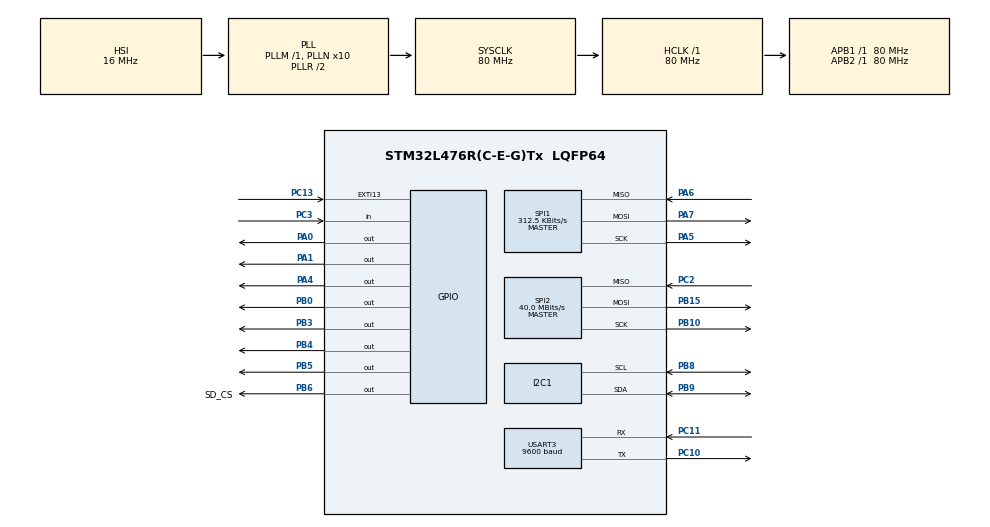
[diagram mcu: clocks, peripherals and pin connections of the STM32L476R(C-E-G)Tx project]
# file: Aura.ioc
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I2C1.Timing=0x10D19CE4
Mcu.Family=STM32L4
Mcu.Name=STM32L476R(C-E-G)Tx
Mcu.Package=LQFP64
NUCLEO-L476RG.BUTTON=1
NUCLEO-L476RG.LD2=true
NVIC.EXTI15_10_IRQn=true\:0\:0\:false\:false\:true\:true\:true\:true
NVIC.PriorityGroup=NVIC_PRIORITYGROUP_4
PA0.Signal=GPIO_Output
PA1.Signal=GPIO_Output
PA13\ (JTMS-SWDIO).GPIO_Label=TMS
PA13\ (JTMS-SWDIO).Signal=SYS_JTMS-SWDIO
PA14\ (JTCK-SWCLK).GPIO_Label=TCK
PA14\ (JTCK-SWCLK).Signal=SYS_JTCK-SWCLK
PA2.GPIO_Label=USART_TX
PA2.GPIO_Mode=GPIO_MODE_AF_PP
PA2.GPIO_PuPd=GPIO_NOPULL
PA2.GPIO_Speed=GPIO_SPEED_FREQ_VERY_HIGH
PA2.Signal=USART2_TX
PA3.GPIO_Label=USART_RX
PA3.GPIO_Mode=GPIO_MODE_AF_PP
PA3.GPIO_PuPd=GPIO_NOPULL
PA3.GPIO_Speed=GPIO_SPEED_FREQ_VERY_HIGH
PA3.Signal=USART2_RX
PA4.Signal=GPIO_Output
PA5.Mode=Full_Duplex_Master
PA5.Signal=SPI1_SCK
PA6.Mode=Full_Duplex_Master
PA6.Signal=SPI1_MISO
PA7.Mode=Full_Duplex_Master
PA7.Signal=SPI1_MOSI
PB0.GPIO_Speed=GPIO_SPEED_FREQ_HIGH
PB0.PinState=GPIO_PIN_RESET
PB0.Signal=GPIO_Output
PB1.Signal=QUADSPI_BK1_IO0
PB10.Mode=Full_Duplex_Master
PB10.Signal=SPI2_SCK
PB15.Mode=Full_Duplex_Master
PB15.Signal=SPI2_MOSI
PB3\ (JTDO-TRACESWO).Signal=GPIO_Output
PB4\ (NJTRST).Signal=GPIO_Output
PB5.Signal=GPIO_Output
PB6.GPIO_Label=SD_CS
PB6.Signal=GPIO_Output
PB8.Mode=I2C
PB8.Signal=I2C1_SCL
PB9.Mode=I2C
PB9.Signal=I2C1_SDA
PC10.Mode=Asynchronous
PC10.Signal=USART3_TX
PC11.Mode=Asynchronous
PC11.Signal=USART3_RX
PC13.Signal=GPXTI13
PC14-OSC32_IN\ (PC14).Mode=LSE-External-Oscillator
PC14-OSC32_IN\ (PC14).Signal=RCC_OSC32_IN
PC15-OSC32_OUT\ (PC15).Mode=LSE-External-Oscillator
PC15-OSC32_OUT\ (PC15).Signal=RCC_OSC32_OUT
PC2.Mode=Full_Duplex_Master
PC2.Signal=SPI2_MISO
PC3.GPIO_PuPd=GPIO_PULLUP
PC3.Signal=GPIO_Input
PH0-OSC_IN\ (PH0).Signal=RCC_OSC_IN
PH1-OSC_OUT\ (PH1).Signal=RCC_OSC_OUT
ProjectManager.HeapSize=0x200
ProjectManager.StackSize=0x400
ProjectManager.TargetToolchain=CMake
RCC.ADCFreq_Value=64000000
RCC.AHBFreq_Value=80000000
RCC.APB1Freq_Value=80000000
RCC.APB1TimFreq_Value=80000000
RCC.APB2Freq_Value=80000000
RCC.APB2TimFreq_Value=80000000
RCC.CortexFreq_Value=80000000
RCC.HCLKFreq_Value=80000000
RCC.HSE_VALUE=8000000
RCC.HSI_VALUE=16000000
RCC.MSI_VALUE=4000000
RCC.PLLN=10
RCC.PLLSourceVirtual=RCC_PLLSOURCE_HSI
RCC.PREFETCH_ENABLE=1
RCC.SYSCLKFreq_VALUE=80000000
RCC.SYSCLKSource=RCC_SYSCLKSOURCE_PLLCLK
RCC.USBFreq_Value=64000000
RCC.VCOOutputFreq_Value=160000000
SPI1.BaudRatePrescaler=SPI_BAUDRATEPRESCALER_256
SPI1.CalculateBaudRate=312.5 KBits/s
SPI1.DataSize=SPI_DATASIZE_8BIT
SPI1.Direction=SPI_DIRECTION_2LINES
SPI1.Mode=SPI_MODE_MASTER
SPI1.VirtualType=VM_MASTER
SPI2.CalculateBaudRate=40.0 MBits/s
SPI2.Direction=SPI_DIRECTION_2LINES
SPI2.Mode=SPI_MODE_MASTER
SPI2.VirtualType=VM_MASTER
USART3.BaudRate=9600
USART3.VirtualMode-Asynchronous=VM_ASYNC
VP_FATFS_VS_Generic.Mode=User_defined
VP_NUCLEO-L476RG_VS_BSP_COMMON.Mode=COMMON
VP_RTC_VS_RTC_Activate.Mode=RTC_Enabled
VP_RTC_VS_RTC_Calendar.Mode=RTC_Calendar
board=NUCLEO-L476RG

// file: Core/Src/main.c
/* USER CODE BEGIN Header */
/**
  **************************
  * @file           : main.c
  * @brief          : Main program body
  **************************
  * @attention
  *
  * Copyright (c) 2026 STMicroelectronics.
  * All rights reserved.
  *
  * This software is licensed under terms that can be found in the LICENSE file
  * in the root directory of this software component.
  * If no LICENSE file comes with this software, it is provided AS-IS.
  *
  **************************
  */
/* USER CODE END Header */
#include "main.h"
#include "fatfs.h"

/* USER CODE BEGIN Includes */
#include <stdio.h>
#include <string.h>
#include "rgb_led.h"
#include "dht11.h"
#include "bh1750.h"
#include "lcd_i2c.h"
#include "station.h"
/* USER CODE END Includes */

I2C_HandleTypeDef hi2c1;

RTC_HandleTypeDef hrtc;

SPI_HandleTypeDef hspi1;
SPI_HandleTypeDef hspi2;

UART_HandleTypeDef huart3;

/* USER CODE BEGIN PV */
/* USART2 = port série virtuel du ST-LINK (PA2/PA3) pour le moniteur série à 115200 bauds.
 * CubeMX n'a pas généré son initialisation : elle est faite à la main dans USART2_Init_Manuel. */
UART_HandleTypeDef huart2;
static uint8_t mode_test = 0;   /* 1 si le bouton bleu B1 est maintenu au démarrage */
/* USER CODE END PV */

void SystemClock_Config(void);
static void MX_GPIO_Init(void);
static void MX_RTC_Init(void);
static void MX_I2C1_Init(void);
static void MX_SPI1_Init(void);
static void MX_SPI2_Init(void);
static void MX_USART3_UART_Init(void);
/* USER CODE BEGIN PFP */
static void USART2_Init_Manuel(void);
static void Test_Materiel(void);
static void Test_Boucle(void);
/* USER CODE END PFP */

/* USER CODE BEGIN 0 */

/* ========================================================================
 *  TEST MATÉRIEL DE LA STATION
 *  Brochage (CubeMX / CheatSheet) :
 *    LED RGB   : R = PA0 (A0), V = PA1 (A1), B = PA4 (A2)
 *    DHT11     : data = PB0 (A3)
 *    BH1750    : SCL = PB8 (D15), SDA = PB9 (D14)      -> I2C1
 *    Carte SD  : SCK = PA5 (D13), MISO = PA6 (D12), MOSI = PA7 (D11), CS = PB6 (D10) -> SPI1
 *    GPS       : PC10 = TX STM32 -> RX GPS, PC11 = RX STM32 <- TX GPS -> USART3 9600
 *    Boutons   : B1 bleu = PC13 (sur la carte), bouton externe = PC3 vers GND
 *    Console   : USB ST-LINK, USART2, 115200 bauds
 *  La LED verte LD2 n'est pas utilisée : elle partage PA5 avec le SCK de la carte SD.
 * ======================================================================== */

typedef enum { TEST_OK, TEST_ECHEC, TEST_VISUEL } Resultat;

static char log_buf[160];
#define LOG(...) do { int n_ = snprintf(log_buf, sizeof log_buf, __VA_ARGS__); \
    if (n_ > 0) HAL_UART_Transmit(&huart2, (uint8_t *)log_buf, (uint16_t)strlen(log_buf), 200); } while (0)

static BH1750_t bh;
static uint8_t  bh_ok = 0;

static const char *Txt(Resultat r)
{
  return (r == TEST_OK) ? "OK" : (r == TEST_ECHEC) ? "ECHEC" : "A VERIFIER A L OEIL";
}

static void USART2_Init_Manuel(void)
{
  /* PA2/PA3 sont déjà configurées en AF7 par MX_GPIO_Init ; il reste l'horloge et le périphérique. */
  __HAL_RCC_USART2_CLK_ENABLE();
  huart2.Instance = USART2;
  huart2.Init.BaudRate = 115200;
  huart2.Init.WordLength = UART_WORDLENGTH_8B;
  huart2.Init.StopBits = UART_STOPBITS_1;
  huart2.Init.Parity = UART_PARITY_NONE;
  huart2.Init.Mode = UART_MODE_TX_RX;
  huart2.Init.HwFlowCtl = UART_HWCONTROL_NONE;
  huart2.Init.OverSampling = UART_OVERSAMPLING_16;
  huart2.Init.OneBitSampling = UART_ONE_BIT_SAMPLE_DISABLE;
  huart2.AdvancedInit.AdvFeatureInit = UART_ADVFEATURE_NO_INIT;
  if (HAL_UART_Init(&huart2) != HAL_OK)
  {
    Error_Handler();
  }
}

/* ---- 1. LED RGB : rouge, vert, bleu, blanc ---- */
static Resultat Test_LED(void)
{
  LOG("\r\n[1] LED RGB : rouge, vert, bleu, blanc (1 s chacun)\r\n");
  RGB_LED_Init();
  RGB_LED_Set(1, 0, 0); LOG("    rouge\r\n"); HAL_Delay(1000);
  RGB_LED_Set(0, 1, 0); LOG("    vert\r\n");  HAL_Delay(1000);
  RGB_LED_Set(0, 0, 1); LOG("    bleu\r\n");  HAL_Delay(1000);
  RGB_LED_Set(1, 1, 1); LOG("    blanc\r\n"); HAL_Delay(1000);
  RGB_LED_Set(0, 0, 0);
  LOG("    Si les couleurs sont inversees ou eteintes : LED a anode commune,\r\n"
      "    mettre RGB_LED_COMMON_CATHODE a 0 dans rgb_led.h\r\n");
  return TEST_VISUEL;
}

/* ---- 2 et 3. Boutons : actifs à l'état bas ---- */
static Resultat Test_Bouton(const char *nom, GPIO_TypeDef *port, uint16_t pin)
{
  LOG("\r\n[%s] Appuie sur le bouton dans les 10 secondes...\r\n", nom);
  if (HAL_GPIO_ReadPin(port, pin) == GPIO_PIN_RESET)
  {
    LOG("    ATTENTION : la broche est deja a 0 avant tout appui\r\n"
        "    (bouton cable sur deux pattes toujours reliees : le brancher en diagonale)\r\n");
    return TEST_ECHEC;
  }
  uint32_t t0 = HAL_GetTick();
  while (HAL_GetTick() - t0 < 10000U)
  {
    if (HAL_GPIO_ReadPin(port, pin) == GPIO_PIN_RESET)
    {
      RGB_LED_Set(0, 1, 0);
      LOG("    appui detecte\r\n");
      uint32_t t1 = HAL_GetTick();
      while (HAL_GPIO_ReadPin(port, pin) == GPIO_PIN_RESET)        /* attendre le relâchement, 5 s maximum */
      {
        if (HAL_GetTick() - t1 > 5000U)
        {
          RGB_LED_Set(0, 0, 0);
          LOG("    le bouton ne se relache pas : cablage a verifier\r\n");
          return TEST_ECHEC;
        }
      }
      RGB_LED_Set(0, 0, 0);
      HAL_Delay(50);                                              /* anti-rebond */
      return TEST_OK;
    }
  }
  LOG("    aucun appui en 10 s\r\n");
  return TEST_ECHEC;
}

/* ---- 4. DHT11 sur PB0 ---- */
static Resultat Test_DHT11(void)
{
  LOG("\r\n[4] DHT11 sur PB0 (A3)\r\n");
  DHT11_Init();
  HAL_Delay(1500);                         /* le capteur a besoin d'environ 1 s après la mise sous tension */
  for (int essai = 1; essai <= 3; essai++)
  {
    DHT11_Data d;
    HAL_StatusTypeDef st = DHT11_Read(&d);
    if (st == HAL_OK)
    {
      LOG("    temperature = %d C   humidite = %d %%\r\n", (int)d.temperature, (int)d.humidity);
      if (d.humidity >= 5 && d.humidity <= 95 && d.temperature <= 50) return TEST_OK;
      LOG("    valeurs incoherentes\r\n");
      return TEST_ECHEC;
    }
    LOG("    essai %d : %s\r\n", essai, (st == HAL_TIMEOUT) ? "pas de reponse (cablage out, VCC, GND)" : "erreur de checksum");
    HAL_Delay(2000);                       /* au moins 1 à 2 s entre deux lectures */
  }
  return TEST_ECHEC;
}

/* ---- 5. BH1750 sur I2C1 ---- */
static Resultat Test_BH1750(void)
{
  uint8_t addr = 0;
  LOG("\r\n[5] I2C1 (SCL PB8 D15, SDA PB9 D14) : scan du bus\r\n");
  /* Au repos, les deux lignes I2C doivent être à 1 grâce aux résistances de rappel des modules. */
  int scl = HAL_GPIO_ReadPin(GPIOB, GPIO_PIN_8) == GPIO_PIN_SET;
  int sda = HAL_GPIO_ReadPin(GPIOB, GPIO_PIN_9) == GPIO_PIN_SET;
  LOG("    lignes au repos : SCL=%d SDA=%d (attendu 1 et 1)\r\n", scl, sda);
  if (!scl || !sda)
    LOG("    une ligne I2C est bloquee a 0 : un module est mal cable, en court-circuit vers GND, ou non alimente\r\n");
  for (uint8_t a = 1; a < 128; a++)
  {
    if (HAL_I2C_IsDeviceReady(&hi2c1, (uint16_t)(a << 1), 2, 10) == HAL_OK)
    {
      LOG("    peripherique trouve a l adresse 0x%02X\r\n", a);
      if (a == 0x23 || a == 0x5C) addr = (uint8_t)(a << 1);
    }
  }
  if (addr == 0)
  {
    LOG("    BH1750 introuvable (0x23 ou 0x5C)\r\n");
    return TEST_ECHEC;
  }
  if (BH1750_Init(&bh, &hi2c1, addr, BH1750_CONT_H) != HAL_OK)
  {
    LOG("    BH1750 : echec d initialisation\r\n");
    return TEST_ECHEC;
  }
  float lux;
  if (BH1750_ReadLux(&bh, &lux) != HAL_OK)
  {
    LOG("    BH1750 : erreur de lecture\r\n");
    return TEST_ECHEC;
  }
  bh_ok = 1;
  LOG("    luminosite = %u lux (cache le capteur avec la main : la valeur doit baisser)\r\n", (unsigned)lux);
  return TEST_OK;
}

/* ---- 6. RTC interne : l'heure doit avancer ---- */
static Resultat Test_RTC(void)
{
  RTC_TimeTypeDef t1, t2;
  RTC_DateTypeDef d;
  LOG("\r\n[6] RTC interne\r\n");
  HAL_RTC_GetTime(&hrtc, &t1, RTC_FORMAT_BIN); HAL_RTC_GetDate(&hrtc, &d, RTC_FORMAT_BIN);
  HAL_Delay(2100);
  HAL_RTC_GetTime(&hrtc, &t2, RTC_FORMAT_BIN); HAL_RTC_GetDate(&hrtc, &d, RTC_FORMAT_BIN);
  LOG("    %02u:%02u:%02u puis %02u:%02u:%02u\r\n", t1.Hours, t1.Minutes, t1.Seconds, t2.Hours, t2.Minutes, t2.Seconds);
  uint32_t s1 = t1.Hours * 3600U + t1.Minutes * 60U + t1.Seconds;
  uint32_t s2 = t2.Hours * 3600U + t2.Minutes * 60U + t2.Seconds;
  return (s2 > s1) ? TEST_OK : TEST_ECHEC;
}

/* ---- 7. Carte SD en SPI1 : la carte doit répondre 0x01 à la commande CMD0 ---- */
static uint8_t SD_Octet(uint8_t out)
{
  uint8_t in = 0xFF;
  HAL_SPI_TransmitReceive(&hspi1, &out, &in, 1, 50);
  return in;
}

static Resultat Test_SD(void)
{
  const uint8_t cmd0[6] = { 0x40, 0x00, 0x00, 0x00, 0x00, 0x95 };
  uint8_t r1 = 0xFF;
  LOG("\r\n[7] Carte SD en SPI1 (SCK PA5 D13, MISO PA6 D12, MOSI PA7 D11, CS PB6 D10)\r\n");

  /* BSP_LED_Init a reconfiguré PA5 pour la LED LD2 : on remet les broches du SPI1. */
  HAL_SPI_MspInit(&hspi1);

  /* Diagnostic 1 : CS haut, la carte ne doit pas parler, MISO doit rester à 1 (0xFF). */
  HAL_GPIO_WritePin(SD_CS_GPIO_Port, SD_CS_Pin, GPIO_PIN_SET);
  uint8_t repos = 0xFF;
  for (int i = 0; i < 10; i++) repos &= SD_Octet(0xFF);  /* 80 impulsions d'horloge, CS haut */
  LOG("    MISO au repos (CS haut) = 0x%02X (attendu 0xFF)\r\n", repos);
  if (repos == 0x00)
  {
    LOG("    MISO est bloque a 0 : verifier le fil MISO vers D12, qu il ne soit pas inverse avec MOSI,\r\n"
        "    et que le VCC du module soit sur 5V\r\n");
  }

  /* Diagnostic 2 : jusqu'à 5 essais de CMD0, certaines cartes ne répondent pas au premier. */
  for (int essai = 1; essai <= 5 && r1 != 0x01; essai++)
  {
    r1 = 0xFF;
    HAL_GPIO_WritePin(SD_CS_GPIO_Port, SD_CS_Pin, GPIO_PIN_RESET);
    for (int i = 0; i < 6; i++) SD_Octet(cmd0[i]);
    for (int i = 0; i < 10 && r1 == 0xFF; i++) r1 = SD_Octet(0xFF);
    HAL_GPIO_WritePin(SD_CS_GPIO_Port, SD_CS_Pin, GPIO_PIN_SET);
    SD_Octet(0xFF);
    LOG("    essai %d : reponse a CMD0 = 0x%02X (attendu 0x01)\r\n", essai, r1);
    HAL_Delay(50);
  }

  if (r1 == 0x01) return TEST_OK;
  if (r1 == 0xFF)
    LOG("    la carte ne repond pas : carte absente ou mal inseree, CS vers D10, SCK vers D13, MOSI vers D11, VCC 5V\r\n");
  else
    LOG("    reponse anormale : verifier MISO vers D12 et MOSI vers D11 (souvent inverses), ou changer de carte\r\n");
  return TEST_ECHEC;
}

/* ---- 8. GPS sur USART3 9600 : on attend des trames NMEA commençant par $ ---- */
static Resultat Test_GPS(void)
{
  char ligne[100];
  uint8_t c;
  int n = 0, trames = 0;
  LOG("\r\n[8] GPS sur USART3 (PC10 vers RX du GPS, PC11 vers TX du GPS), 9600 bauds, 5 s d ecoute\r\n");
  __HAL_UART_CLEAR_OREFLAG(&huart3);
  uint32_t t0 = HAL_GetTick();
  while (HAL_GetTick() - t0 < 5000U)
  {
    if (HAL_UART_Receive(&huart3, &c, 1, 20) != HAL_OK)
    {
      __HAL_UART_CLEAR_OREFLAG(&huart3);
      continue;
    }
    if (c == '$') n = 0;
    if (n < (int)sizeof ligne - 1) ligne[n++] = (char)c;
    if (c == '\n' && n > 6 && ligne[0] == '$')
    {
      ligne[n] = '\0';
      trames++;
      if (strncmp(ligne + 3, "RMC", 3) == 0)
      {
        const char *p = strchr(ligne, ',');
        if (p) p = strchr(p + 1, ',');
        char statut = (p && p[1]) ? p[1] : '?';
        LOG("    %s", ligne);
        LOG("    statut %c : %s\r\n", statut, (statut == 'A') ? "position valide" : "pas encore de position, mettre l antenne face au ciel");
        return TEST_OK;
      }
      n = 0;
    }
  }
  if (trames > 0)
  {
    LOG("    %d trames recues mais pas de RMC : le GPS communique\r\n", trames);
    return TEST_OK;
  }
  LOG("    aucune trame : verifier TX GPS vers PC11, RX GPS vers PC10, VCC, GND\r\n");
  return TEST_ECHEC;
}

/* ---- 9. Écran LCD1602 I2C sur le même bus I2C1 que le BH1750 ---- */
static LCD_I2C_t lcd;
static uint8_t   lcd_ok = 0;

static Resultat Test_LCD(void)
{
  LOG("\r\n[9] Ecran LCD1602 I2C (SDA PB9 D14, SCL PB8 D15) : recherche automatique de l adresse\r\n");
  /* Aucun réglage d'adresse à faire : on essaie toutes les adresses possibles du module PCF8574
   * (0x20 à 0x27 pour le PCF8574T, 0x38 à 0x3F pour le PCF8574AT), en sautant celle du BH1750 (0x23). */
  uint8_t addr = 0;
  const uint8_t debut[2] = { 0x27, 0x3F };          /* on commence par les adresses d'usine les plus courantes */
  for (int plage = 0; plage < 2 && addr == 0; plage++)
  {
    for (int i = 0; i < 8 && addr == 0; i++)
    {
      uint8_t a = (uint8_t)(debut[plage] - i);
      if (a == 0x23) continue;                       /* adresse du BH1750 */
      if (HAL_I2C_IsDeviceReady(&hi2c1, (uint16_t)(a << 1), 2, 10) == HAL_OK) addr = (uint8_t)(a << 1);
    }
  }
  if (addr == 0)
  {
    LOG("    LCD introuvable : verifier SDA vers D14, SCL vers D15, VCC 5V, GND\r\n");
    return TEST_ECHEC;
  }
  if (LCD_Init(&lcd, &hi2c1, addr) != HAL_OK)
  {
    LOG("    LCD : echec d initialisation\r\n");
    return TEST_ECHEC;
  }
  lcd_ok = 1;
  LCD_SetCursor(&lcd, 0, 0); LCD_Print(&lcd, "STATION AURA");
  LCD_SetCursor(&lcd, 0, 1); LCD_Print(&lcd, "Test LCD OK");
  LOG("    LCD trouve a l adresse 0x%02X : il doit afficher STATION AURA\r\n"
      "    Ecran allume mais vide ou rempli de carres : tourner la vis bleue du contraste au dos\r\n", addr >> 1);
  return TEST_VISUEL;
}

static void Test_Materiel(void)
{
  Resultat r[9];
  const char *noms[9] = { "LED RGB", "Bouton B1 bleu PC13", "Bouton externe PC3", "DHT11",
                          "BH1750", "RTC interne", "Carte SD", "GPS", "Ecran LCD1602" };

  LOG("\r\n\r\n========== TEST MATERIEL STATION AURA ==========\r\n");
  r[0] = Test_LED();
  r[1] = Test_Bouton("2 bouton bleu B1 sur la carte, PC13", GPIOC, GPIO_PIN_13);
  r[2] = Test_Bouton("3 bouton externe PC3", GPIOC, GPIO_PIN_3);
  r[3] = Test_DHT11();
  r[4] = Test_BH1750();
  r[5] = Test_RTC();
  r[6] = Test_SD();
  r[7] = Test_GPS();
  r[8] = Test_LCD();

  int echecs = 0;
  LOG("\r\n========== BILAN ==========\r\n");
  for (int i = 0; i < 9; i++)
  {
    LOG("  %-22s : %s\r\n", noms[i], Txt(r[i]));
    if (r[i] == TEST_ECHEC) echecs++;
  }
  LOG("  %d echec(s)\r\n===========================\r\n\r\n", echecs);

  /* LED : vert fixe si tout va bien, rouge fixe sinon */
  if (echecs == 0) RGB_LED_Set(0, 1, 0); else RGB_LED_Set(1, 0, 0);
}

/* Mesures en continu toutes les 2 secondes après le test */
static void Test_Boucle(void)
{
  static uint32_t dernier = 0;
  if (HAL_GetTick() - dernier < 2000U) return;
  dernier = HAL_GetTick();

  RTC_TimeTypeDef t;
  RTC_DateTypeDef d;
  HAL_RTC_GetTime(&hrtc, &t, RTC_FORMAT_BIN); HAL_RTC_GetDate(&hrtc, &d, RTC_FORMAT_BIN);

  DHT11_Data m;
  char dht[40] = "DHT11 NA";
  if (DHT11_Read(&m) == HAL_OK) snprintf(dht, sizeof dht, "T=%dC H=%d%%", (int)m.temperature, (int)m.humidity);

  char lux[24] = "lux NA";
  float l;
  if (bh_ok && BH1750_ReadLux(&bh, &l) == HAL_OK) snprintf(lux, sizeof lux, "%u lux", (unsigned)l);

  LOG("%02u:%02u:%02u  %s  %s  B1=%s  PC3=%s\r\n", t.Hours, t.Minutes, t.Seconds, dht, lux,
      HAL_GPIO_ReadPin(GPIOC, GPIO_PIN_13) == GPIO_PIN_RESET ? "appuye" : "relache",
      HAL_GPIO_ReadPin(GPIOC, GPIO_PIN_3)  == GPIO_PIN_RESET ? "appuye" : "relache");

  /* Écran : ligne 1 = heure + lux, ligne 2 = température + humidité (16 caractères par ligne) */
  if (lcd_ok)
  {
    char l1[17], l2[17];
    snprintf(l1, sizeof l1, "%02u:%02u:%02u %-7.7s", t.Hours % 24U, t.Minutes % 60U, t.Seconds % 60U, lux);
    snprintf(l2, sizeof l2, "%-16.16s", dht);
    LCD_SetCursor(&lcd, 0, 0); LCD_Print(&lcd, l1);
    LCD_SetCursor(&lcd, 0, 1); LCD_Print(&lcd, l2);
  }
}

/* USER CODE END 0 */

int main(void)
{

  /* MCU Configuration--------------------------------------------------------*/

  /* Reset of all peripherals, Initializes the Flash interface and the Systick. */
  HAL_Init();

  /* Configure the system clock */
  SystemClock_Config();

  /* Initialize all configured peripherals */
  MX_GPIO_Init();
  MX_RTC_Init();
  MX_I2C1_Init();
  MX_SPI1_Init();
  MX_SPI2_Init();
  MX_USART3_UART_Init();
  MX_FATFS_Init();
  /* USER CODE BEGIN 2 */
  USART2_Init_Manuel();
  /* USER CODE END 2 */

  /* Initialize leds */
  BSP_LED_Init(LED_GREEN);

  /* Initialize USER push-button, will be used to trigger an interrupt each time it's pressed.*/
  BSP_PB_Init(BUTTON_USER, BUTTON_MODE_EXTI);

  /* Infinite loop */
  /* USER CODE BEGIN WHILE */
  /* Bouton bleu B1 maintenu au démarrage : test du matériel. Sinon : programme de la station. */
  if (HAL_GPIO_ReadPin(GPIOC, GPIO_PIN_13) == GPIO_PIN_RESET)
  {
    mode_test = 1;
    Test_Materiel();
  }
  else
  {
    Station_Init();
  }
  while (1)
  {
    /* USER CODE END WHILE */

    /* USER CODE BEGIN 3 */
    if (mode_test) Test_Boucle(); else Station_Loop();
  }
  /* USER CODE END 3 */
}

void SystemClock_Config(void)
{
  RCC_OscInitTypeDef RCC_OscInitStruct = {0};
  RCC_ClkInitTypeDef RCC_ClkInitStruct = {0};

  /** Configure the main internal regulator output voltage
  */
  if (HAL_PWREx_ControlVoltageScaling(PWR_REGULATOR_VOLTAGE_SCALE1) != HAL_OK)
  {
    Error_Handler();
  }

  /** Initializes the RCC Oscillators according to the specified parameters
  * in the RCC_OscInitTypeDef structure.
  */
  RCC_OscInitStruct.OscillatorType = RCC_OSCILLATORTYPE_HSI|RCC_OSCILLATORTYPE_LSI;
  RCC_OscInitStruct.HSIState = RCC_HSI_ON;
  RCC_OscInitStruct.HSICalibrationValue = RCC_HSICALIBRATION_DEFAULT;
  RCC_OscInitStruct.LSIState = RCC_LSI_ON;
  RCC_OscInitStruct.PLL.PLLState = RCC_PLL_ON;
  RCC_OscInitStruct.PLL.PLLSource = RCC_PLLSOURCE_HSI;
  RCC_OscInitStruct.PLL.PLLM = 1;
  RCC_OscInitStruct.PLL.PLLN = 10;
  RCC_OscInitStruct.PLL.PLLP = RCC_PLLP_DIV7;
  RCC_OscInitStruct.PLL.PLLQ = RCC_PLLQ_DIV2;
  RCC_OscInitStruct.PLL.PLLR = RCC_PLLR_DIV2;
  if (HAL_RCC_OscConfig(&RCC_OscInitStruct) != HAL_OK)
  {
    Error_Handler();
  }

  /** Initializes the CPU, AHB and APB buses clocks
  */
  RCC_ClkInitStruct.ClockType = RCC_CLOCKTYPE_HCLK|RCC_CLOCKTYPE_SYSCLK
                              |RCC_CLOCKTYPE_PCLK1|RCC_CLOCKTYPE_PCLK2;
  RCC_ClkInitStruct.SYSCLKSource = RCC_SYSCLKSOURCE_PLLCLK;
  RCC_ClkInitStruct.AHBCLKDivider = RCC_SYSCLK_DIV1;
  RCC_ClkInitStruct.APB1CLKDivider = RCC_HCLK_DIV1;
  RCC_ClkInitStruct.APB2CLKDivider = RCC_HCLK_DIV1;

  if (HAL_RCC_ClockConfig(&RCC_ClkInitStruct, FLASH_LATENCY_4) != HAL_OK)
  {
    Error_Handler();
  }
}

static void MX_I2C1_Init(void)
{

  hi2c1.Instance = I2C1;
  hi2c1.Init.Timing = 0x10D19CE4;
  hi2c1.Init.OwnAddress1 = 0;
  hi2c1.Init.AddressingMode = I2C_ADDRESSINGMODE_7BIT;
  hi2c1.Init.DualAddressMode = I2C_DUALADDRESS_DISABLE;
  hi2c1.Init.OwnAddress2 = 0;
  hi2c1.Init.OwnAddress2Masks = I2C_OA2_NOMASK;
  hi2c1.Init.GeneralCallMode = I2C_GENERALCALL_DISABLE;
  hi2c1.Init.NoStretchMode = I2C_NOSTRETCH_DISABLE;
  if (HAL_I2C_Init(&hi2c1) != HAL_OK)
  {
    Error_Handler();
  }

  /** Configure Analogue filter
  */
  if (HAL_I2CEx_ConfigAnalogFilter(&hi2c1, I2C_ANALOGFILTER_ENABLE) != HAL_OK)
  {
    Error_Handler();
  }

  /** Configure Digital filter
  */
  if (HAL_I2CEx_ConfigDigitalFilter(&hi2c1, 0) != HAL_OK)
  {
    Error_Handler();
  }

}

static void MX_RTC_Init(void)
{

  RTC_TimeTypeDef sTime = {0};
  RTC_DateTypeDef sDate = {0};

  /** Initialize RTC Only
  */
  hrtc.Instance = RTC;
  hrtc.Init.HourFormat = RTC_HOURFORMAT_24;
  hrtc.Init.AsynchPrediv = 127;
  hrtc.Init.SynchPrediv = 255;
  hrtc.Init.OutPut = RTC_OUTPUT_DISABLE;
  hrtc.Init.OutPutRemap = RTC_OUTPUT_REMAP_NONE;
  hrtc.Init.OutPutPolarity = RTC_OUTPUT_POLARITY_HIGH;
  hrtc.Init.OutPutType = RTC_OUTPUT_TYPE_OPENDRAIN;
  if (HAL_RTC_Init(&hrtc) != HAL_OK)
  {
    Error_Handler();
  }

  /* USER CODE BEGIN Check_RTC_BKUP */
  /* Heure déjà réglée par CLOCK ou DATE (registre de sauvegarde) : ne pas la remettre à 00:00 au RESET */
  if (HAL_RTCEx_BKUPRead(&hrtc, RTC_BKP_DR0) == 0x32F2)
  {
    return;
  }
  /* USER CODE END Check_RTC_BKUP */

  /** Initialize RTC and set the Time and Date
  */
  sTime.Hours = 0x0;
  sTime.Minutes = 0x0;
  sTime.Seconds = 0x0;
  sTime.DayLightSaving = RTC_DAYLIGHTSAVING_NONE;
  sTime.StoreOperation = RTC_STOREOPERATION_RESET;
  if (HAL_RTC_SetTime(&hrtc, &sTime, RTC_FORMAT_BCD) != HAL_OK)
  {
    Error_Handler();
  }
  sDate.WeekDay = RTC_WEEKDAY_MONDAY;
  sDate.Month = RTC_MONTH_JANUARY;
  sDate.Date = 0x1;
  sDate.Year = 0x0;

  if (HAL_RTC_SetDate(&hrtc, &sDate, RTC_FORMAT_BCD) != HAL_OK)
  {
    Error_Handler();
  }

}

static void MX_SPI1_Init(void)
{

  /* SPI1 parameter configuration*/
  hspi1.Instance = SPI1;
  hspi1.Init.Mode = SPI_MODE_MASTER;
  hspi1.Init.Direction = SPI_DIRECTION_2LINES;
  hspi1.Init.DataSize = SPI_DATASIZE_8BIT;
  hspi1.Init.CLKPolarity = SPI_POLARITY_LOW;
  hspi1.Init.CLKPhase = SPI_PHASE_1EDGE;
  hspi1.Init.NSS = SPI_NSS_SOFT;
  hspi1.Init.BaudRatePrescaler = SPI_BAUDRATEPRESCALER_256;
  hspi1.Init.FirstBit = SPI_FIRSTBIT_MSB;
  hspi1.Init.TIMode = SPI_TIMODE_DISABLE;
  hspi1.Init.CRCCalculation = SPI_CRCCALCULATION_DISABLE;
  hspi1.Init.CRCPolynomial = 7;
  hspi1.Init.CRCLength = SPI_CRC_LENGTH_DATASIZE;
  hspi1.Init.NSSPMode = SPI_NSS_PULSE_ENABLE;
  if (HAL_SPI_Init(&hspi1) != HAL_OK)
  {
    Error_Handler();
  }

}

static void MX_SPI2_Init(void)
{

  /* SPI2 parameter configuration*/
  hspi2.Instance = SPI2;
  hspi2.Init.Mode = SPI_MODE_MASTER;
  hspi2.Init.Direction = SPI_DIRECTION_2LINES;
  hspi2.Init.DataSize = SPI_DATASIZE_4BIT;
  hspi2.Init.CLKPolarity = SPI_POLARITY_LOW;
  hspi2.Init.CLKPhase = SPI_PHASE_1EDGE;
  hspi2.Init.NSS = SPI_NSS_SOFT;
  hspi2.Init.BaudRatePrescaler = SPI_BAUDRATEPRESCALER_2;
  hspi2.Init.FirstBit = SPI_FIRSTBIT_MSB;
  hspi2.Init.TIMode = SPI_TIMODE_DISABLE;
  hspi2.Init.CRCCalculation = SPI_CRCCALCULATION_DISABLE;
  hspi2.Init.CRCPolynomial = 7;
  hspi2.Init.CRCLength = SPI_CRC_LENGTH_DATASIZE;
  hspi2.Init.NSSPMode = SPI_NSS_PULSE_ENABLE;
  if (HAL_SPI_Init(&hspi2) != HAL_OK)
  {
    Error_Handler();
  }

}

static void MX_USART3_UART_Init(void)
{

  huart3.Instance = USART3;
  huart3.Init.BaudRate = 9600;
  huart3.Init.WordLength = UART_WORDLENGTH_8B;
  huart3.Init.StopBits = UART_STOPBITS_1;
  huart3.Init.Parity = UART_PARITY_NONE;
  huart3.Init.Mode = UART_MODE_TX_RX;
  huart3.Init.HwFlowCtl = UART_HWCONTROL_NONE;
  huart3.Init.OverSampling = UART_OVERSAMPLING_16;
  huart3.Init.OneBitSampling = UART_ONE_BIT_SAMPLE_DISABLE;
  huart3.AdvancedInit.AdvFeatureInit = UART_ADVFEATURE_NO_INIT;
  if (HAL_UART_Init(&huart3) != HAL_OK)
  {
    Error_Handler();
  }

}

static void MX_GPIO_Init(void)
{
  GPIO_InitTypeDef GPIO_InitStruct = {0};

  /* GPIO Ports Clock Enable */
  __HAL_RCC_GPIOC_CLK_ENABLE();
  __HAL_RCC_GPIOH_CLK_ENABLE();
  __HAL_RCC_GPIOA_CLK_ENABLE();
  __HAL_RCC_GPIOB_CLK_ENABLE();

  /*Configure GPIO pin Output Level */
  HAL_GPIO_WritePin(GPIOA, GPIO_PIN_0|GPIO_PIN_1|GPIO_PIN_4, GPIO_PIN_RESET);

  /*Configure GPIO pin Output Level */
  HAL_GPIO_WritePin(GPIOB, GPIO_PIN_0|GPIO_PIN_3|GPIO_PIN_4|GPIO_PIN_5
                          |SD_CS_Pin, GPIO_PIN_RESET);

  /*Configure GPIO pin : PC3 */
  GPIO_InitStruct.Pin = GPIO_PIN_3;
  GPIO_InitStruct.Mode = GPIO_MODE_INPUT;
  GPIO_InitStruct.Pull = GPIO_PULLUP;
  HAL_GPIO_Init(GPIOC, &GPIO_InitStruct);

  /*Configure GPIO pins : PA0 PA1 PA4 */
  GPIO_InitStruct.Pin = GPIO_PIN_0|GPIO_PIN_1|GPIO_PIN_4;
  GPIO_InitStruct.Mode = GPIO_MODE_OUTPUT_PP;
  GPIO_InitStruct.Pull = GPIO_NOPULL;
  GPIO_InitStruct.Speed = GPIO_SPEED_FREQ_LOW;
  HAL_GPIO_Init(GPIOA, &GPIO_InitStruct);

  /*Configure GPIO pins : USART_TX_Pin USART_RX_Pin */
  GPIO_InitStruct.Pin = USART_TX_Pin|USART_RX_Pin;
  GPIO_InitStruct.Mode = GPIO_MODE_AF_PP;
  GPIO_InitStruct.Pull = GPIO_NOPULL;
  GPIO_InitStruct.Speed = GPIO_SPEED_FREQ_VERY_HIGH;
  GPIO_InitStruct.Alternate = GPIO_AF7_USART2;
  HAL_GPIO_Init(GPIOA, &GPIO_InitStruct);

  /*Configure GPIO pin : PB0 */
  GPIO_InitStruct.Pin = GPIO_PIN_0;
  GPIO_InitStruct.Mode = GPIO_MODE_OUTPUT_PP;
  GPIO_InitStruct.Pull = GPIO_NOPULL;
  GPIO_InitStruct.Speed = GPIO_SPEED_FREQ_HIGH;
  HAL_GPIO_Init(GPIOB, &GPIO_InitStruct);

  /*Configure GPIO pin : PB1 */
  GPIO_InitStruct.Pin = GPIO_PIN_1;
  GPIO_InitStruct.Mode = GPIO_MODE_AF_PP;
  GPIO_InitStruct.Pull = GPIO_NOPULL;
  GPIO_InitStruct.Speed = GPIO_SPEED_FREQ_VERY_HIGH;
  GPIO_InitStruct.Alternate = GPIO_AF10_QUADSPI;
  HAL_GPIO_Init(GPIOB, &GPIO_InitStruct);

  /*Configure GPIO pins : PB3 PB4 PB5 SD_CS_Pin */
  GPIO_InitStruct.Pin = GPIO_PIN_3|GPIO_PIN_4|GPIO_PIN_5|SD_CS_Pin;
  GPIO_InitStruct.Mode = GPIO_MODE_OUTPUT_PP;
  GPIO_InitStruct.Pull = GPIO_NOPULL;
  GPIO_InitStruct.Speed = GPIO_SPEED_FREQ_LOW;
  HAL_GPIO_Init(GPIOB, &GPIO_InitStruct);

}

void Error_Handler(void)
{
  __disable_irq();
  while (1)
  {
  }
}
